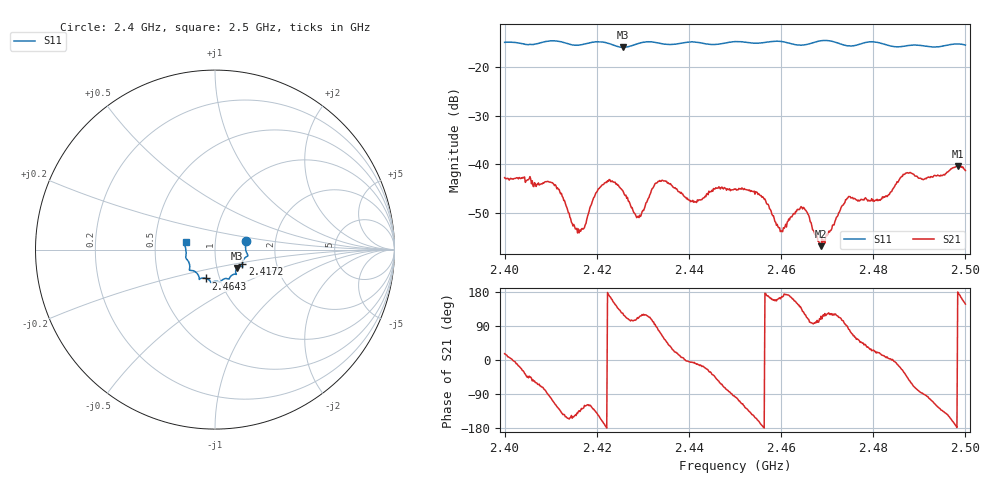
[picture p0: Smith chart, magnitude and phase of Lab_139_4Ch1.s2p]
# Hz S RI R 50
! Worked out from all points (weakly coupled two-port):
!   601 points, 2.4 GHz to 2.5 GHz, reference 50 ohm
!   highest |S21| = -40.41 dB at 2.4983 GHz (marker M1); lowest = -56.9 dB at 2.4687 GHz (marker M2)
!   lowest |S11| = -15.9 dB at 2.4257 GHz (marker M3), VSWR 1.38, Z = 62.5 - j13.1 ohm
!   |S11| at or under -10 dB: start of sweep to end of sweep
!   S12 and S22 are empty: the file has one direction only
!   S11 on the Smith chart (normalised r, x): 2.4 GHz: 1.41, +0.14; 2.4172 GHz: 1.34, -0.22; 2.4643 GHz: 0.86, -0.28; 2.5 GHz: 0.72, +0.06
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2.4e9  0.1731 0.0494  0.00694 0.00206  0 0  0 0
2.4105e9  0.1837 -0.0339  -0.00202 -0.00601  0 0  0 0
2.415e9  0.1591 -0.0558  -0.00207 -0.00119  0 0  0 0
2.416667e9  0.1528 -0.0746  -0.00131 -0.00169  0 0  0 0
2.417167e9  0.1521 -0.0803  -0.00128 -0.00174  0 0  0 0
2.421167e9  0.1538 -0.0961  -0.00578 -0.00196  0 0  0 0
2.425667e9  0.1227 -0.1023  -0.00292 0.00442  0 0  0 0
2.429167e9  0.116 -0.1321  -0.00108 0.00259  0 0  0 0
2.433333e9  0.1128 -0.1369  0.00128 0.00651  0 0  0 0
2.441167e9  0.0771 -0.1645  0.0041 -0.000444  0 0  0 0
2.45e9  0.0293 -0.181  -0.000679 -0.00546  0 0  0 0
2.455667e9  -0.00407 -0.1774  -0.00467 -0.000791  0 0  0 0
2.459833e9  -0.0233 -0.1828  -0.00191 0.000641  0 0  0 0
2.464333e9  -0.0499 -0.1607  -0.0027 0.00245  0 0  0 0
2.466667e9  -0.0759 -0.1596  -0.000319 0.00229  0 0  0 0
2.468667e9  -0.087 -0.1656  -0.000612 0.00129  0 0  0 0
2.4745e9  -0.1016 -0.1309  0.000337 0.00448  0 0  0 0
2.483333e9  -0.1406 -0.0901  0.00482 0.00035  0 0  0 0
2.487e9  -0.1556 -0.0564  0.0063 -0.005  0 0  0 0
2.491e9  -0.162 -0.0342  -8.42e-05 -0.00696  0 0  0 0
2.498333e9  -0.1701 0.0328  -0.00954 0.000103  0 0  0 0
2.5e9  -0.1638 0.0418  -0.00723 0.00459  0 0  0 0
